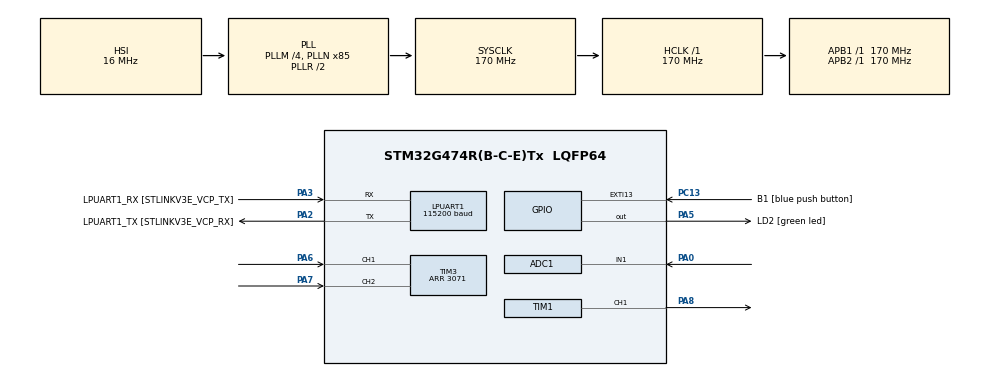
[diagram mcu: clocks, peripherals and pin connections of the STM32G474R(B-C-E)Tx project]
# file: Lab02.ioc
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ADC1.Channel-0\#ChannelRegularConversion=ADC_CHANNEL_1
ADC1.ContinuousConvMode=ENABLE
ADC1.DMAContinuousRequests=ENABLE
ADC1.NbrOfConversion=1
ADC1.NbrOfConversionFlag=1
ADC1.OffsetNumber-0\#ChannelRegularConversion=ADC_OFFSET_NONE
ADC1.Rank-0\#ChannelRegularConversion=1
ADC1.SamplingTime-0\#ChannelRegularConversion=ADC_SAMPLETIME_640CYCLES_5
ADC1.master=1
ARM.CMSIS-DSP.1.15.0.CMSISJjDSP=Source
ARM.CMSIS.6.0.0.CMSISJjCORE=true
Dma.ADC1.0.Direction=DMA_PERIPH_TO_MEMORY
Dma.ADC1.0.EventEnable=DISABLE
Dma.ADC1.0.Instance=DMA1_Channel1
Dma.ADC1.0.MemDataAlignment=DMA_MDATAALIGN_HALFWORD
Dma.ADC1.0.MemInc=DMA_MINC_ENABLE
Dma.ADC1.0.Mode=DMA_CIRCULAR
Dma.ADC1.0.PeriphDataAlignment=DMA_PDATAALIGN_HALFWORD
Dma.ADC1.0.PeriphInc=DMA_PINC_DISABLE
Dma.ADC1.0.Polarity=HAL_DMAMUX_REQ_GEN_RISING
Dma.ADC1.0.Priority=DMA_PRIORITY_LOW
Dma.ADC1.0.RequestNumber=1
Dma.ADC1.0.SignalID=NONE
Dma.ADC1.0.SyncEnable=DISABLE
Dma.ADC1.0.SyncPolarity=HAL_DMAMUX_SYNC_NO_EVENT
Dma.ADC1.0.SyncRequestNumber=1
Dma.ADC1.0.SyncSignalID=NONE
Dma.Request0=ADC1
LPUART1.BaudRate=115200
LPUART1.WordLength=UART_WORDLENGTH_8B
Mcu.Family=STM32G4
Mcu.Name=STM32G474R(B-C-E)Tx
Mcu.Package=LQFP64
NVIC.ADC1_2_IRQn=true\:0\:0\:false\:false\:true\:true\:true\:true
NVIC.DMA1_Channel1_IRQn=true\:0\:0\:false\:false\:true\:false\:true\:true
NVIC.EXTI15_10_IRQn=true\:0\:0\:false\:false\:true\:true\:true\:true
NVIC.PriorityGroup=NVIC_PRIORITYGROUP_4
PA0.Mode=IN1-Single-Ended
PA0.Signal=ADC1_IN1
PA13.GPIO_Label=T_SWDIO
PA13.Mode=Trace_Asynchronous_SW
PA13.Signal=SYS_JTMS-SWDIO
PA14.GPIO_Label=T_SWCLK
PA14.Mode=Trace_Asynchronous_SW
PA14.Signal=SYS_JTCK-SWCLK
PA2.GPIO_Label=LPUART1_TX [STLINKV3E_VCP_RX]
PA2.Mode=Asynchronous
PA2.Signal=LPUART1_TX
PA3.GPIO_Label=LPUART1_RX [STLINKV3E_VCP_TX]
PA3.Mode=Asynchronous
PA3.Signal=LPUART1_RX
PA5.GPIO_Label=LD2 [green led]
PA5.Signal=GPIO_Output
PA6.Signal=S_TIM3_CH1
PA7.Signal=S_TIM3_CH2
PA8.Signal=S_TIM1_CH1
PB3.GPIO_Label=T_SWO
PB3.Mode=Trace_Asynchronous_SW
PB3.Signal=SYS_JTDO-SWO
PC13.GPIO_Label=B1 [blue push button]
PC13.Signal=GPXTI13
PC14-OSC32_IN.Mode=LSE-External-Oscillator
PC14-OSC32_IN.Signal=RCC_OSC32_IN
PC15-OSC32_OUT.Mode=LSE-External-Oscillator
PC15-OSC32_OUT.Signal=RCC_OSC32_OUT
PF0-OSC_IN.Mode=HSE-External-Oscillator
PF0-OSC_IN.Signal=RCC_OSC_IN
PF1-OSC_OUT.Mode=HSE-External-Oscillator
PF1-OSC_OUT.Signal=RCC_OSC_OUT
ProjectManager.HeapSize=0x200
ProjectManager.StackSize=0x400
ProjectManager.TargetToolchain=STM32CubeIDE
RCC.ADC12Freq_Value=170000000
RCC.ADC345Freq_Value=170000000
RCC.AHBFreq_Value=170000000
RCC.APB1Freq_Value=170000000
RCC.APB1TimFreq_Value=170000000
RCC.APB2Freq_Value=170000000
RCC.APB2TimFreq_Value=170000000
RCC.CortexFreq_Value=170000000
RCC.EXTERNAL_CLOCK_VALUE=12288000
RCC.HCLKFreq_Value=170000000
RCC.HSE_VALUE=24000000
RCC.HSI48_VALUE=48000000
RCC.HSI_VALUE=16000000
RCC.PLLM=RCC_PLLM_DIV4
RCC.PLLN=85
RCC.RTCClockSelection=RCC_RTCCLKSOURCE_LSE
RCC.SYSCLKFreq_VALUE=170000000
RCC.SYSCLKSource=RCC_SYSCLKSOURCE_PLLCLK
RCC.USBFreq_Value=170000000
RCC.VCOOutputFreq_Value=340000000
SH.S_TIM1_CH1.0=TIM1_CH1,PWM Generation1 CH1
SH.S_TIM3_CH1.0=TIM3_CH1,Encoder_Interface
SH.S_TIM3_CH2.0=TIM3_CH2,Encoder_Interface
TIM1.Channel-PWM\ Generation1\ CH1=TIM_CHANNEL_1
TIM1.PeriodNoDither=1000
TIM1.Prescaler=169
TIM1.PulseNoDither_1=3072
TIM3.EncoderMode=TIM_ENCODERMODE_TI12
TIM3.PeriodNoDither=3071
VP_ARM.CMSIS-DSP_VS_CMSISJjDSP_1.15.0_1.15.0.Mode=CMSISJjDSP
VP_ARM.CMSIS_VS_CMSISJjCORE_6.0.0_6.0.0.Mode=CMSISJjCORE
VP_SYS_VS_DBSignals.Mode=DisableDeadBatterySignals
VP_TIM1_VS_ClockSourceINT.Mode=Internal
board=NUCLEO-G474RE

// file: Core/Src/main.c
/* USER CODE BEGIN Header */
/**
  ******************************************************************************
  * @file           : main.c
  * @brief          : Main program body
  ******************************************************************************
  * @attention
  *
  * Copyright (c) 2024 STMicroelectronics.
  * All rights reserved.
  *
  * This software is licensed under terms that can be found in the LICENSE file
  * in the root directory of this software component.
  * If no LICENSE file comes with this software, it is provided AS-IS.
  *
  ******************************************************************************
  */
/* USER CODE END Header */
#include "main.h"

/* USER CODE BEGIN Includes */
#include "arm_math.h"
/* USER CODE END Includes */

ADC_HandleTypeDef hadc1;
DMA_HandleTypeDef hdma_adc1;

UART_HandleTypeDef hlpuart1;

TIM_HandleTypeDef htim1;
TIM_HandleTypeDef htim3;

/* USER CODE BEGIN PV */
arm_pid_instance_f32 PID = {0};
uint32_t QEIRead;
float position;
uint16_t ADCRead[20]={0};
float ADC;
float setpoint;
float Vout;
/* USER CODE END PV */

void SystemClock_Config(void);
static void MX_GPIO_Init(void);
static void MX_DMA_Init(void);
static void MX_LPUART1_UART_Init(void);
static void MX_TIM3_Init(void);
static void MX_ADC1_Init(void);
static void MX_TIM1_Init(void);

int main(void)
{

  /* MCU Configuration--------------------------------------------------------*/

  /* Reset of all peripherals, Initializes the Flash interface and the Systick. */
  HAL_Init();

  /* Configure the system clock */
  SystemClock_Config();

  /* Initialize all configured peripherals */
  MX_GPIO_Init();
  MX_DMA_Init();
  MX_LPUART1_UART_Init();
  MX_TIM3_Init();
  MX_ADC1_Init();
  MX_TIM1_Init();
  /* USER CODE BEGIN 2 */
  HAL_TIM_Encoder_Start(&htim3,TIM_CHANNEL_ALL);
  HAL_ADC_Start_DMA(&hadc1, ADCRead, 20);
  HAL_TIM_Base_Start(&htim1);
  HAL_TIM_PWM_Start(&htim1, TIM_CHANNEL_1);

  PID.Kp = 100;
  PID.Ki = 0.1;
  PID.Kd = 0.1;
  arm_pid_init_f32(&PID, 0);
  /* USER CODE END 2 */

  /* Infinite loop */
  while (1)
  {

    /* USER CODE BEGIN 3 */
	  ADC = ADCRead[0];
	  setpoint = (ADC/4095)*360;
	  if(setpoint == 0)
	  {
		  QEIRead = __HAL_TIM_SET_COUNTER(&htim3, 0);
		  position = 0;
	  }
	  else
	  {
		  QEIRead = __HAL_TIM_GET_COUNTER(&htim3);
		  position = (QEIRead/3072.0)*360;
	  }

	  static uint32_t timestamp = 0;
	  if(HAL_GetTick() >= timestamp)
	  {
		  timestamp = HAL_GetTick()+500;

		  Vout = arm_pid_f32(&PID, setpoint - position);
		  __HAL_TIM_SET_COMPARE(&htim1,TIM_CHANNEL_1,Vout);
	  }

  }
  /* USER CODE END 3 */
}

void SystemClock_Config(void)
{
  RCC_OscInitTypeDef RCC_OscInitStruct = {0};
  RCC_ClkInitTypeDef RCC_ClkInitStruct = {0};

  /** Configure the main internal regulator output voltage
  */
  HAL_PWREx_ControlVoltageScaling(PWR_REGULATOR_VOLTAGE_SCALE1_BOOST);

  /** Initializes the RCC Oscillators according to the specified parameters
  * in the RCC_OscInitTypeDef structure.
  */
  RCC_OscInitStruct.OscillatorType = RCC_OSCILLATORTYPE_HSI;
  RCC_OscInitStruct.HSIState = RCC_HSI_ON;
  RCC_OscInitStruct.HSICalibrationValue = RCC_HSICALIBRATION_DEFAULT;
  RCC_OscInitStruct.PLL.PLLState = RCC_PLL_ON;
  RCC_OscInitStruct.PLL.PLLSource = RCC_PLLSOURCE_HSI;
  RCC_OscInitStruct.PLL.PLLM = RCC_PLLM_DIV4;
  RCC_OscInitStruct.PLL.PLLN = 85;
  RCC_OscInitStruct.PLL.PLLP = RCC_PLLP_DIV2;
  RCC_OscInitStruct.PLL.PLLQ = RCC_PLLQ_DIV2;
  RCC_OscInitStruct.PLL.PLLR = RCC_PLLR_DIV2;
  if (HAL_RCC_OscConfig(&RCC_OscInitStruct) != HAL_OK)
  {
    Error_Handler();
  }

  /** Initializes the CPU, AHB and APB buses clocks
  */
  RCC_ClkInitStruct.ClockType = RCC_CLOCKTYPE_HCLK|RCC_CLOCKTYPE_SYSCLK
                              |RCC_CLOCKTYPE_PCLK1|RCC_CLOCKTYPE_PCLK2;
  RCC_ClkInitStruct.SYSCLKSource = RCC_SYSCLKSOURCE_PLLCLK;
  RCC_ClkInitStruct.AHBCLKDivider = RCC_SYSCLK_DIV1;
  RCC_ClkInitStruct.APB1CLKDivider = RCC_HCLK_DIV1;
  RCC_ClkInitStruct.APB2CLKDivider = RCC_HCLK_DIV1;

  if (HAL_RCC_ClockConfig(&RCC_ClkInitStruct, FLASH_LATENCY_4) != HAL_OK)
  {
    Error_Handler();
  }
}

static void MX_ADC1_Init(void)
{

  ADC_MultiModeTypeDef multimode = {0};
  ADC_ChannelConfTypeDef sConfig = {0};

  /** Common config
  */
  hadc1.Instance = ADC1;
  hadc1.Init.ClockPrescaler = ADC_CLOCK_SYNC_PCLK_DIV4;
  hadc1.Init.Resolution = ADC_RESOLUTION_12B;
  hadc1.Init.DataAlign = ADC_DATAALIGN_RIGHT;
  hadc1.Init.GainCompensation = 0;
  hadc1.Init.ScanConvMode = ADC_SCAN_DISABLE;
  hadc1.Init.EOCSelection = ADC_EOC_SINGLE_CONV;
  hadc1.Init.LowPowerAutoWait = DISABLE;
  hadc1.Init.ContinuousConvMode = ENABLE;
  hadc1.Init.NbrOfConversion = 1;
  hadc1.Init.DiscontinuousConvMode = DISABLE;
  hadc1.Init.ExternalTrigConv = ADC_SOFTWARE_START;
  hadc1.Init.ExternalTrigConvEdge = ADC_EXTERNALTRIGCONVEDGE_NONE;
  hadc1.Init.DMAContinuousRequests = ENABLE;
  hadc1.Init.Overrun = ADC_OVR_DATA_PRESERVED;
  hadc1.Init.OversamplingMode = DISABLE;
  if (HAL_ADC_Init(&hadc1) != HAL_OK)
  {
    Error_Handler();
  }

  /** Configure the ADC multi-mode
  */
  multimode.Mode = ADC_MODE_INDEPENDENT;
  if (HAL_ADCEx_MultiModeConfigChannel(&hadc1, &multimode) != HAL_OK)
  {
    Error_Handler();
  }

  /** Configure Regular Channel
  */
  sConfig.Channel = ADC_CHANNEL_1;
  sConfig.Rank = ADC_REGULAR_RANK_1;
  sConfig.SamplingTime = ADC_SAMPLETIME_640CYCLES_5;
  sConfig.SingleDiff = ADC_SINGLE_ENDED;
  sConfig.OffsetNumber = ADC_OFFSET_NONE;
  sConfig.Offset = 0;
  if (HAL_ADC_ConfigChannel(&hadc1, &sConfig) != HAL_OK)
  {
    Error_Handler();
  }

}

static void MX_LPUART1_UART_Init(void)
{

  hlpuart1.Instance = LPUART1;
  hlpuart1.Init.BaudRate = 115200;
  hlpuart1.Init.WordLength = UART_WORDLENGTH_8B;
  hlpuart1.Init.StopBits = UART_STOPBITS_1;
  hlpuart1.Init.Parity = UART_PARITY_NONE;
  hlpuart1.Init.Mode = UART_MODE_TX_RX;
  hlpuart1.Init.HwFlowCtl = UART_HWCONTROL_NONE;
  hlpuart1.Init.OneBitSampling = UART_ONE_BIT_SAMPLE_DISABLE;
  hlpuart1.Init.ClockPrescaler = UART_PRESCALER_DIV1;
  hlpuart1.AdvancedInit.AdvFeatureInit = UART_ADVFEATURE_NO_INIT;
  if (HAL_UART_Init(&hlpuart1) != HAL_OK)
  {
    Error_Handler();
  }
  if (HAL_UARTEx_SetTxFifoThreshold(&hlpuart1, UART_TXFIFO_THRESHOLD_1_8) != HAL_OK)
  {
    Error_Handler();
  }
  if (HAL_UARTEx_SetRxFifoThreshold(&hlpuart1, UART_RXFIFO_THRESHOLD_1_8) != HAL_OK)
  {
    Error_Handler();
  }
  if (HAL_UARTEx_DisableFifoMode(&hlpuart1) != HAL_OK)
  {
    Error_Handler();
  }

}

static void MX_TIM1_Init(void)
{

  TIM_ClockConfigTypeDef sClockSourceConfig = {0};
  TIM_MasterConfigTypeDef sMasterConfig = {0};
  TIM_OC_InitTypeDef sConfigOC = {0};
  TIM_BreakDeadTimeConfigTypeDef sBreakDeadTimeConfig = {0};

  htim1.Instance = TIM1;
  htim1.Init.Prescaler = 169;
  htim1.Init.CounterMode = TIM_COUNTERMODE_UP;
  htim1.Init.Period = 1000;
  htim1.Init.ClockDivision = TIM_CLOCKDIVISION_DIV1;
  htim1.Init.RepetitionCounter = 0;
  htim1.Init.AutoReloadPreload = TIM_AUTORELOAD_PRELOAD_DISABLE;
  if (HAL_TIM_Base_Init(&htim1) != HAL_OK)
  {
    Error_Handler();
  }
  sClockSourceConfig.ClockSource = TIM_CLOCKSOURCE_INTERNAL;
  if (HAL_TIM_ConfigClockSource(&htim1, &sClockSourceConfig) != HAL_OK)
  {
    Error_Handler();
  }
  if (HAL_TIM_PWM_Init(&htim1) != HAL_OK)
  {
    Error_Handler();
  }
  sMasterConfig.MasterOutputTrigger = TIM_TRGO_RESET;
  sMasterConfig.MasterOutputTrigger2 = TIM_TRGO2_RESET;
  sMasterConfig.MasterSlaveMode = TIM_MASTERSLAVEMODE_DISABLE;
  if (HAL_TIMEx_MasterConfigSynchronization(&htim1, &sMasterConfig) != HAL_OK)
  {
    Error_Handler();
  }
  sConfigOC.OCMode = TIM_OCMODE_PWM1;
  sConfigOC.Pulse = 3072;
  sConfigOC.OCPolarity = TIM_OCPOLARITY_HIGH;
  sConfigOC.OCNPolarity = TIM_OCNPOLARITY_HIGH;
  sConfigOC.OCFastMode = TIM_OCFAST_DISABLE;
  sConfigOC.OCIdleState = TIM_OCIDLESTATE_RESET;
  sConfigOC.OCNIdleState = TIM_OCNIDLESTATE_RESET;
  if (HAL_TIM_PWM_ConfigChannel(&htim1, &sConfigOC, TIM_CHANNEL_1) != HAL_OK)
  {
    Error_Handler();
  }
  sBreakDeadTimeConfig.OffStateRunMode = TIM_OSSR_DISABLE;
  sBreakDeadTimeConfig.OffStateIDLEMode = TIM_OSSI_DISABLE;
  sBreakDeadTimeConfig.LockLevel = TIM_LOCKLEVEL_OFF;
  sBreakDeadTimeConfig.DeadTime = 0;
  sBreakDeadTimeConfig.BreakState = TIM_BREAK_DISABLE;
  sBreakDeadTimeConfig.BreakPolarity = TIM_BREAKPOLARITY_HIGH;
  sBreakDeadTimeConfig.BreakFilter = 0;
  sBreakDeadTimeConfig.BreakAFMode = TIM_BREAK_AFMODE_INPUT;
  sBreakDeadTimeConfig.Break2State = TIM_BREAK2_DISABLE;
  sBreakDeadTimeConfig.Break2Polarity = TIM_BREAK2POLARITY_HIGH;
  sBreakDeadTimeConfig.Break2Filter = 0;
  sBreakDeadTimeConfig.Break2AFMode = TIM_BREAK_AFMODE_INPUT;
  sBreakDeadTimeConfig.AutomaticOutput = TIM_AUTOMATICOUTPUT_DISABLE;
  if (HAL_TIMEx_ConfigBreakDeadTime(&htim1, &sBreakDeadTimeConfig) != HAL_OK)
  {
    Error_Handler();
  }
  HAL_TIM_MspPostInit(&htim1);

}

static void MX_TIM3_Init(void)
{

  TIM_Encoder_InitTypeDef sConfig = {0};
  TIM_MasterConfigTypeDef sMasterConfig = {0};

  htim3.Instance = TIM3;
  htim3.Init.Prescaler = 0;
  htim3.Init.CounterMode = TIM_COUNTERMODE_UP;
  htim3.Init.Period = 3071;
  htim3.Init.ClockDivision = TIM_CLOCKDIVISION_DIV1;
  htim3.Init.AutoReloadPreload = TIM_AUTORELOAD_PRELOAD_DISABLE;
  sConfig.EncoderMode = TIM_ENCODERMODE_TI12;
  sConfig.IC1Polarity = TIM_ICPOLARITY_RISING;
  sConfig.IC1Selection = TIM_ICSELECTION_DIRECTTI;
  sConfig.IC1Prescaler = TIM_ICPSC_DIV1;
  sConfig.IC1Filter = 0;
  sConfig.IC2Polarity = TIM_ICPOLARITY_RISING;
  sConfig.IC2Selection = TIM_ICSELECTION_DIRECTTI;
  sConfig.IC2Prescaler = TIM_ICPSC_DIV1;
  sConfig.IC2Filter = 0;
  if (HAL_TIM_Encoder_Init(&htim3, &sConfig) != HAL_OK)
  {
    Error_Handler();
  }
  sMasterConfig.MasterOutputTrigger = TIM_TRGO_RESET;
  sMasterConfig.MasterSlaveMode = TIM_MASTERSLAVEMODE_DISABLE;
  if (HAL_TIMEx_MasterConfigSynchronization(&htim3, &sMasterConfig) != HAL_OK)
  {
    Error_Handler();
  }

}

static void MX_DMA_Init(void)
{

  /* DMA controller clock enable */
  __HAL_RCC_DMAMUX1_CLK_ENABLE();
  __HAL_RCC_DMA1_CLK_ENABLE();

  /* DMA interrupt init */
  /* DMA1_Channel1_IRQn interrupt configuration */
  HAL_NVIC_SetPriority(DMA1_Channel1_IRQn, 0, 0);
  HAL_NVIC_EnableIRQ(DMA1_Channel1_IRQn);

}

static void MX_GPIO_Init(void)
{
  GPIO_InitTypeDef GPIO_InitStruct = {0};

  /* GPIO Ports Clock Enable */
  __HAL_RCC_GPIOC_CLK_ENABLE();
  __HAL_RCC_GPIOF_CLK_ENABLE();
  __HAL_RCC_GPIOA_CLK_ENABLE();
  __HAL_RCC_GPIOB_CLK_ENABLE();

  /*Configure GPIO pin Output Level */
  HAL_GPIO_WritePin(LD2_GPIO_Port, LD2_Pin, GPIO_PIN_RESET);

  /*Configure GPIO pin : B1_Pin */
  GPIO_InitStruct.Pin = B1_Pin;
  GPIO_InitStruct.Mode = GPIO_MODE_IT_RISING;
  GPIO_InitStruct.Pull = GPIO_NOPULL;
  HAL_GPIO_Init(B1_GPIO_Port, &GPIO_InitStruct);

  /*Configure GPIO pin : LD2_Pin */
  GPIO_InitStruct.Pin = LD2_Pin;
  GPIO_InitStruct.Mode = GPIO_MODE_OUTPUT_PP;
  GPIO_InitStruct.Pull = GPIO_NOPULL;
  GPIO_InitStruct.Speed = GPIO_SPEED_FREQ_LOW;
  HAL_GPIO_Init(LD2_GPIO_Port, &GPIO_InitStruct);

  /* EXTI interrupt init*/
  HAL_NVIC_SetPriority(EXTI15_10_IRQn, 0, 0);
  HAL_NVIC_EnableIRQ(EXTI15_10_IRQn);

}

void Error_Handler(void)
{
  __disable_irq();
  while (1)
  {
  }
}
